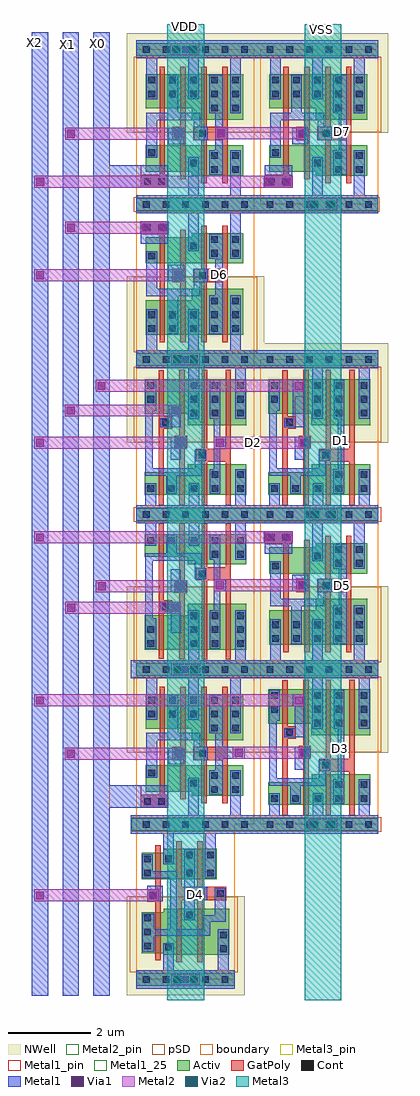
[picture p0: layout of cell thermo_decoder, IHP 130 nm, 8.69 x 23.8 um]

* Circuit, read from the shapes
.subckt thermo_decoder D1 D2 D3 D4 D5 D6 D7 VDD VSS X0 X1 X2
XM1 VSS X2 n1 VSS sg13_lv_nmos w=0.64u l=0.13u
XM2 n2 X1 VSS VSS sg13_lv_nmos w=0.55u l=0.13u
XM3 n3 X1 VSS VSS sg13_lv_nmos w=0.55u l=0.13u
XM4 n4 X0 n5 VSS sg13_lv_nmos w=0.64u l=0.13u
XM5 n6 X1 n7 VSS sg13_lv_nmos w=0.64u l=0.13u
XM6 n8 X0 n9 VSS sg13_lv_nmos w=0.64u l=0.13u
XM7 D4 n1 VSS VSS sg13_lv_nmos w=0.74u l=0.13u m=2
XM8 VSS X0 n2 VSS sg13_lv_nmos w=0.55u l=0.13u
XM9 VSS X2 n3 VSS sg13_lv_nmos w=0.55u l=0.13u
XM10 VSS X1 n4 VSS sg13_lv_nmos w=0.64u l=0.13u
XM11 VSS X2 n6 VSS sg13_lv_nmos w=0.64u l=0.13u
XM12 VSS X1 n8 VSS sg13_lv_nmos w=0.64u l=0.13u
XM13 sg13g2_or2_2$3_8/A n5 VSS VSS sg13_lv_nmos w=0.74u l=0.13u m=2
XM14 D6 n7 VSS VSS sg13_lv_nmos w=0.74u l=0.13u m=2
XM15 sg13g2_and2_2_1/B n9 VSS VSS sg13_lv_nmos w=0.74u l=0.13u m=2
XM16 sg13g2_and2_2$3_6/B n2 VSS VSS sg13_lv_nmos w=0.74u l=0.13u m=2
XM17 D2 n3 VSS VSS sg13_lv_nmos w=0.74u l=0.13u m=2
XM18 n10 X2 VSS VSS sg13_lv_nmos w=0.55u l=0.13u
XM19 n11 X0 VSS VSS sg13_lv_nmos w=0.55u l=0.13u
XM20 n12 X2 n13 VSS sg13_lv_nmos w=0.64u l=0.13u
XM21 n14 X2 n15 VSS sg13_lv_nmos w=0.64u l=0.13u
XM22 VSS sg13g2_or2_2$3_8/A n10 VSS sg13_lv_nmos w=0.55u l=0.13u
XM23 VSS D2 n11 VSS sg13_lv_nmos w=0.55u l=0.13u
XM24 VSS sg13g2_and2_2$3_6/B n12 VSS sg13_lv_nmos w=0.64u l=0.13u
XM25 VSS sg13g2_and2_2_1/B n14 VSS sg13_lv_nmos w=0.64u l=0.13u
XM26 D5 n13 VSS VSS sg13_lv_nmos w=0.74u l=0.13u m=2
XM27 D7 n15 VSS VSS sg13_lv_nmos w=0.74u l=0.13u m=2
XM28 D3 n10 VSS VSS sg13_lv_nmos w=0.74u l=0.13u m=2
XM29 D1 n11 VSS VSS sg13_lv_nmos w=0.74u l=0.13u m=2
XM30 VDD X2 n1 VDD sg13_lv_pmos w=1u l=0.13u
XM31 n16 X1 n2 VDD sg13_lv_pmos w=0.84u l=0.13u
XM32 n17 X1 n3 VDD sg13_lv_pmos w=0.84u l=0.13u
XM33 n5 X0 VDD VDD sg13_lv_pmos w=0.84u l=0.13u
XM34 n7 X1 VDD VDD sg13_lv_pmos w=0.84u l=0.13u
XM35 n9 X0 VDD VDD sg13_lv_pmos w=0.84u l=0.13u
XM36 D4 n1 VDD VDD sg13_lv_pmos w=1.12u l=0.13u m=2
XM37 VDD X0 n16 VDD sg13_lv_pmos w=0.84u l=0.13u
XM38 VDD X2 n17 VDD sg13_lv_pmos w=0.84u l=0.13u
XM39 VDD X1 n5 VDD sg13_lv_pmos w=0.84u l=0.13u
XM40 VDD X2 n7 VDD sg13_lv_pmos w=0.84u l=0.13u
XM41 VDD X1 n9 VDD sg13_lv_pmos w=0.84u l=0.13u
XM42 sg13g2_or2_2$3_8/A n5 VDD VDD sg13_lv_pmos w=1.12u l=0.13u m=2
XM43 D6 n7 VDD VDD sg13_lv_pmos w=1.12u l=0.13u m=2
XM44 sg13g2_and2_2_1/B n9 VDD VDD sg13_lv_pmos w=1.12u l=0.13u m=2
XM45 sg13g2_and2_2$3_6/B n2 VDD VDD sg13_lv_pmos w=1.12u l=0.13u m=2
XM46 D2 n3 VDD VDD sg13_lv_pmos w=1.12u l=0.13u m=2
XM47 n18 X2 n10 VDD sg13_lv_pmos w=0.84u l=0.13u
XM48 n19 X0 n11 VDD sg13_lv_pmos w=0.84u l=0.13u
XM49 n13 X2 VDD VDD sg13_lv_pmos w=0.84u l=0.13u
XM50 n15 X2 VDD VDD sg13_lv_pmos w=0.84u l=0.13u
XM51 VDD sg13g2_or2_2$3_8/A n18 VDD sg13_lv_pmos w=0.84u l=0.13u
XM52 VDD D2 n19 VDD sg13_lv_pmos w=0.84u l=0.13u
XM53 VDD sg13g2_and2_2$3_6/B n13 VDD sg13_lv_pmos w=0.84u l=0.13u
XM54 VDD sg13g2_and2_2_1/B n15 VDD sg13_lv_pmos w=0.84u l=0.13u
XM55 D5 n13 VDD VDD sg13_lv_pmos w=1.12u l=0.13u m=2
XM56 D7 n15 VDD VDD sg13_lv_pmos w=1.12u l=0.13u m=2
XM57 D3 n10 VDD VDD sg13_lv_pmos w=1.12u l=0.13u m=2
XM58 D1 n11 VDD VDD sg13_lv_pmos w=1.12u l=0.13u m=2
.ends

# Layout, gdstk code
from math import pi, radians
import gdstk
lib = gdstk.Library(unit=1e-6, precision=1e-09)
def R(c, l, rs):  # rectangles x0, y0, x1, y1
    for r in rs: c.add(gdstk.rectangle(r[:2], r[2:], *l))
def A(c, l, x, y, w, h, nx, ny, dx, dy):  # array of equal rectangles
    R(c, l, [(x+i*dx, y+j*dy, x+i*dx+w, y+j*dy+h) for i in range(nx) for j in range(ny)])
def P(c, l, *ps):  # polygons
    for p in ps: c.add(gdstk.Polygon(p, *l))
Activ = (1, 0)
GatPoly = (5, 0)
Cont = (6, 0)
Metal1 = (8, 0)
Metal1_pin = (8, 2)
Metal1_25 = (8, 25)
Metal2 = (10, 0)
Metal2_pin = (10, 2)
pSD = (14, 0)
Via1 = (19, 0)
Via2 = (29, 0)
Metal3 = (30, 0)
Metal3_pin = (30, 2)
NWell = (31, 0)
boundary = (189, 4)

sg13g2_and2_2_1 = lib.new_cell('sg13g2_and2_2$1')
R(sg13g2_and2_2_1, Activ, [(0,-0.15,2.88,0.15), (0,3.63,2.88,3.93)])
P(sg13g2_and2_2_1, Activ, [(1.355,0.7),(1.355,0.8),(0.225,0.8),(0.225,1.44),(2.605,1.44),(2.605,0.7)],
  [(1.355,2.06),(1.355,2.34),(0.225,2.34),(0.225,3.18),(2.605,3.18),(2.605,2.06)])
P(sg13g2_and2_2_1, GatPoly, [(1.585,0.52),(1.585,1.57),(1.385,1.57),(1.385,1.9),(1.585,1.9),(1.585,3.36),(1.715,3.36),(1.715,1.9),(2.095,1.9),(2.095,3.36),(2.225,3.36),(2.225,0.52),(2.095,0.52),(2.095,1.57),(1.715,1.57),(1.715,0.52)],
  [(0.105,0.41),(0.105,0.73),(0.565,0.73),(0.565,3.36),(0.695,3.36),(0.695,0.73),(0.775,0.73),(0.775,0.41)],
  [(1.075,0.62),(1.075,1.57),(0.875,1.57),(0.875,1.9),(1.075,1.9),(1.075,3.36),(1.205,3.36),(1.205,0.62)])
A(sg13g2_and2_2_1, Cont, 0.16, -0.08, 0.16, 0.16, 6, 1, 0.48, 0)
A(sg13g2_and2_2_1, Cont, 0.295, 2.61, 0.16, 0.16, 5, 2, 0.51, 0.34)
A(sg13g2_and2_2_1, Cont, 1.6, 3.7, 0.16, 0.16, 3, 1, 0.48, 0)
R(sg13g2_and2_2_1, Cont, [(0.19,0.48,0.35,0.64), (0.53,0.48,0.69,0.64), (1.825,0.77,1.985,0.93), (2.335,0.77,2.495,0.93), (1.315,0.935,1.475,1.095), (1.825,1.11,1.985,1.27), (2.335,1.11,2.495,1.27), (0.295,1.18,0.455,1.34), (0.96,1.655,1.12,1.815), (1.53,1.655,1.69,1.815), (1.825,2.27,1.985,2.43), (2.335,2.27,2.495,2.43), (0.16,3.7,0.32,3.86), (0.16,3.7,0.32,3.86), (0.16,3.7,0.32,3.86), (0.64,3.7,0.8,3.86), (0.64,3.7,0.8,3.86), (1.12,3.7,1.28,3.86), (1.12,3.7,1.28,3.86), (1.6,3.7,1.76,3.86)])
R(sg13g2_and2_2_1, Metal1, [(0.105,0.405,0.78,0.96), (0.78,1.47,1.17,1.87)])
P(sg13g2_and2_2_1, Metal1, [(1.775,0.72),(1.775,1.32),(1.92,1.32),(1.92,2.22),(1.775,2.22),(1.775,3.16),(2.105,3.16),(2.105,0.72)],
  [(0,-0.22),(0,0.22),(1.265,0.22),(1.265,1.145),(1.525,1.145),(1.525,0.22),(2.285,0.22),(2.285,1.32),(2.545,1.32),(2.545,0.22),(2.88,0.22),(2.88,-0.22)],
  [(0.245,1.14),(0.245,2.24),(0.755,2.24),(0.755,3.16),(1.015,3.16),(1.015,2.24),(1.56,2.24),(1.56,1.9),(1.74,1.9),(1.74,1.57),(1.4,1.57),(1.4,2.05),(0.505,2.05),(0.505,1.14)],
  [(2.285,2.22),(2.285,3.56),(1.525,3.56),(1.525,2.56),(1.265,2.56),(1.265,3.56),(0.505,3.56),(0.505,2.56),(0.245,2.56),(0.245,3.56),(0,3.56),(0,4),(2.88,4),(2.88,3.56),(2.545,3.56),(2.545,2.22)])
R(sg13g2_and2_2_1, Metal1_pin, [(0,-0.22,2.88,0.22), (0.105,0.405,0.78,0.96), (0.78,1.47,1.17,1.87), (1.775,2.22,2.105,3.16), (0,3.56,2.88,4)])
R(sg13g2_and2_2_1, pSD, [(-0.07,-0.18,2.91,0.18), (-0.07,1.76,2.95,3.6)])
R(sg13g2_and2_2_1, NWell, [(-0.24,1.75,0.72,4.17), (-0.24,1.75,2.64,4.17), (2.16,1.75,3.12,4.17)])
R(sg13g2_and2_2_1, boundary, [(0,0,2.88,3.78)])
sg13g2_and2_2_1.add(gdstk.Label('X', (1.995,2.73), layer=8, texttype=25))
sg13g2_and2_2_1.add(gdstk.Label('VSS', (1.18,0), layer=8, texttype=25))
sg13g2_and2_2_1.add(gdstk.Label('VDD', (1.275,3.78), layer=8, texttype=25))

sg13g2_and2_2 = lib.new_cell('sg13g2_and2_2')
R(sg13g2_and2_2, Activ, [(-0.14,-0.15,2.88,0.15), (-0.14,3.63,2.88,3.93)])
P(sg13g2_and2_2, Activ, [(1.355,0.7),(1.355,0.8),(0.225,0.8),(0.225,1.44),(2.605,1.44),(2.605,0.7)],
  [(1.355,2.06),(1.355,2.34),(0.225,2.34),(0.225,3.18),(2.605,3.18),(2.605,2.06)])
P(sg13g2_and2_2, GatPoly, [(1.585,0.52),(1.585,1.57),(1.385,1.57),(1.385,1.9),(1.585,1.9),(1.585,3.36),(1.715,3.36),(1.715,1.9),(2.095,1.9),(2.095,3.36),(2.225,3.36),(2.225,0.52),(2.095,0.52),(2.095,1.57),(1.715,1.57),(1.715,0.52)],
  [(0.105,0.41),(0.105,0.73),(0.565,0.73),(0.565,3.36),(0.695,3.36),(0.695,0.73),(0.775,0.73),(0.775,0.41)],
  [(1.075,0.62),(1.075,1.57),(0.875,1.57),(0.875,1.9),(1.075,1.9),(1.075,3.36),(1.205,3.36),(1.205,0.62)])
A(sg13g2_and2_2, Cont, 0.16, -0.08, 0.16, 0.16, 6, 1, 0.48, 0)
A(sg13g2_and2_2, Cont, 0.295, 2.61, 0.16, 0.16, 5, 2, 0.51, 0.34)
A(sg13g2_and2_2, Cont, 1.6, 3.7, 0.16, 0.16, 3, 1, 0.48, 0)
R(sg13g2_and2_2, Cont, [(0.19,0.48,0.35,0.64), (0.53,0.48,0.69,0.64), (1.825,0.77,1.985,0.93), (2.335,0.77,2.495,0.93), (1.315,0.935,1.475,1.095), (1.825,1.11,1.985,1.27), (2.335,1.11,2.495,1.27), (0.295,1.18,0.455,1.34), (0.96,1.655,1.12,1.815), (1.53,1.655,1.69,1.815), (1.825,2.27,1.985,2.43), (2.335,2.27,2.495,2.43), (0.16,3.7,0.32,3.86), (0.16,3.7,0.32,3.86), (0.16,3.7,0.32,3.86), (0.64,3.7,0.8,3.86), (0.64,3.7,0.8,3.86), (1.12,3.7,1.28,3.86), (1.12,3.7,1.28,3.86), (1.6,3.7,1.76,3.86)])
R(sg13g2_and2_2, Metal1, [(0.105,0.405,0.78,0.96), (0.78,1.47,1.17,1.87)])
P(sg13g2_and2_2, Metal1, [(-0.14,-0.22),(-0.14,0.22),(1.265,0.22),(1.265,1.145),(1.525,1.145),(1.525,0.22),(2.285,0.22),(2.285,1.32),(2.545,1.32),(2.545,0.22),(2.88,0.22),(2.88,-0.22)],
  [(2.285,2.22),(2.285,3.56),(1.525,3.56),(1.525,2.56),(1.265,2.56),(1.265,3.56),(0.505,3.56),(0.505,2.56),(0.245,2.56),(0.245,3.56),(-0.14,3.56),(-0.14,4),(2.88,4),(2.88,3.56),(2.545,3.56),(2.545,2.22)],
  [(1.775,0.72),(1.775,1.32),(1.92,1.32),(1.92,2.22),(1.775,2.22),(1.775,3.16),(2.105,3.16),(2.105,0.72)],
  [(0.245,1.14),(0.245,2.24),(0.755,2.24),(0.755,3.16),(1.015,3.16),(1.015,2.24),(1.56,2.24),(1.56,1.9),(1.74,1.9),(1.74,1.57),(1.4,1.57),(1.4,2.05),(0.505,2.05),(0.505,1.14)])
R(sg13g2_and2_2, Metal1_pin, [(-0.14,-0.22,2.88,0.22), (0.105,0.405,0.78,0.96), (0.78,1.47,1.17,1.87), (1.775,2.22,2.105,3.16), (-0.14,3.56,2.88,4)])
R(sg13g2_and2_2, pSD, [(-0.11,-0.18,2.91,0.18), (-0.07,1.76,2.95,3.6)])
R(sg13g2_and2_2, NWell, [(-0.24,1.75,0.72,4.17), (-0.24,1.75,2.64,4.17), (2.16,1.75,3.12,4.17)])
R(sg13g2_and2_2, boundary, [(0,0,2.88,3.78)])
sg13g2_and2_2.add(gdstk.Label('X', (1.995,2.73), layer=8, texttype=25))
sg13g2_and2_2.add(gdstk.Label('VSS', (1.18,0), layer=8, texttype=25))
sg13g2_and2_2.add(gdstk.Label('VDD', (1.275,3.78), layer=8, texttype=25))
sg13g2_and2_2.add(gdstk.Label('B', (0.98,1.655), layer=8, texttype=25))

sg13g2_and2_2_2 = lib.new_cell('sg13g2_and2_2$2')
R(sg13g2_and2_2_2, Activ, [(0,-0.15,2.88,0.15), (0,3.63,2.88,3.93)])
P(sg13g2_and2_2_2, Activ, [(1.355,0.7),(1.355,0.8),(0.225,0.8),(0.225,1.44),(2.605,1.44),(2.605,0.7)],
  [(1.355,2.06),(1.355,2.34),(0.225,2.34),(0.225,3.18),(2.605,3.18),(2.605,2.06)])
P(sg13g2_and2_2_2, GatPoly, [(1.585,0.52),(1.585,1.57),(1.385,1.57),(1.385,1.9),(1.585,1.9),(1.585,3.36),(1.715,3.36),(1.715,1.9),(2.095,1.9),(2.095,3.36),(2.225,3.36),(2.225,0.52),(2.095,0.52),(2.095,1.57),(1.715,1.57),(1.715,0.52)],
  [(0.105,0.41),(0.105,0.73),(0.565,0.73),(0.565,3.36),(0.695,3.36),(0.695,0.73),(0.775,0.73),(0.775,0.41)],
  [(1.075,0.62),(1.075,1.57),(0.875,1.57),(0.875,1.9),(1.075,1.9),(1.075,3.36),(1.205,3.36),(1.205,0.62)])
A(sg13g2_and2_2_2, Cont, 0.16, -0.08, 0.16, 0.16, 6, 1, 0.48, 0)
A(sg13g2_and2_2_2, Cont, 0.295, 2.61, 0.16, 0.16, 5, 2, 0.51, 0.34)
A(sg13g2_and2_2_2, Cont, 1.6, 3.7, 0.16, 0.16, 3, 1, 0.48, 0)
R(sg13g2_and2_2_2, Cont, [(0.19,0.48,0.35,0.64), (0.53,0.48,0.69,0.64), (1.825,0.77,1.985,0.93), (2.335,0.77,2.495,0.93), (1.315,0.935,1.475,1.095), (1.825,1.11,1.985,1.27), (2.335,1.11,2.495,1.27), (0.295,1.18,0.455,1.34), (0.96,1.655,1.12,1.815), (1.53,1.655,1.69,1.815), (1.825,2.27,1.985,2.43), (2.335,2.27,2.495,2.43), (0.16,3.7,0.32,3.86), (0.16,3.7,0.32,3.86), (0.16,3.7,0.32,3.86), (0.64,3.7,0.8,3.86), (0.64,3.7,0.8,3.86), (1.12,3.7,1.28,3.86), (1.12,3.7,1.28,3.86), (1.6,3.7,1.76,3.86)])
R(sg13g2_and2_2_2, Metal1, [(0.105,0.405,0.78,0.96), (0.78,1.47,1.17,1.87)])
P(sg13g2_and2_2_2, Metal1, [(1.775,0.72),(1.775,1.32),(1.92,1.32),(1.92,2.22),(1.775,2.22),(1.775,3.16),(2.105,3.16),(2.105,0.72)],
  [(0,-0.22),(0,0.22),(1.265,0.22),(1.265,1.145),(1.525,1.145),(1.525,0.22),(2.285,0.22),(2.285,1.32),(2.545,1.32),(2.545,0.22),(2.88,0.22),(2.88,-0.22)],
  [(0.245,1.14),(0.245,2.24),(0.755,2.24),(0.755,3.16),(1.015,3.16),(1.015,2.24),(1.56,2.24),(1.56,1.9),(1.74,1.9),(1.74,1.57),(1.4,1.57),(1.4,2.05),(0.505,2.05),(0.505,1.14)],
  [(2.285,2.22),(2.285,3.56),(1.525,3.56),(1.525,2.56),(1.265,2.56),(1.265,3.56),(0.505,3.56),(0.505,2.56),(0.245,2.56),(0.245,3.56),(0,3.56),(0,4),(2.88,4),(2.88,3.56),(2.545,3.56),(2.545,2.22)])
R(sg13g2_and2_2_2, Metal1_pin, [(0,-0.22,2.88,0.22), (0.105,0.405,0.78,0.96), (0.78,1.47,1.17,1.87), (1.775,2.22,2.105,3.16), (0,3.56,2.88,4)])
R(sg13g2_and2_2_2, pSD, [(-0.07,-0.18,2.91,0.18), (-0.07,1.76,2.95,3.6)])
R(sg13g2_and2_2_2, NWell, [(-0.24,1.75,0.72,4.17), (-0.24,1.75,2.64,4.17), (2.16,1.75,3.12,4.17)])
R(sg13g2_and2_2_2, boundary, [(0,0,2.88,3.78)])
sg13g2_and2_2_2.add(gdstk.Label('X', (1.995,2.73), layer=8, texttype=25))
sg13g2_and2_2_2.add(gdstk.Label('VSS', (1.18,0), layer=8, texttype=25))
sg13g2_and2_2_2.add(gdstk.Label('VDD', (1.275,3.78), layer=8, texttype=25))

sg13g2_or2_2 = lib.new_cell('sg13g2_or2_2')
R(sg13g2_or2_2, Activ, [(0,-0.15,2.88,0.15), (0,3.63,2.88,3.93)])
P(sg13g2_or2_2, Activ, [(1.25,2.18),(1.25,2.46),(0.2,2.46),(0.2,3.3),(2.685,3.3),(2.685,2.18)],
  [(0.2,0.48),(0.2,1.03),(1.255,1.03),(1.255,1.22),(2.685,1.22),(2.685,0.48)])
P(sg13g2_or2_2, GatPoly, [(1.05,0.22),(1.05,1.615),(0.935,1.615),(0.935,1.915),(1.05,1.915),(1.05,3.525),(1.18,3.525),(1.18,1.915),(1.235,1.915),(1.235,1.615),(1.18,1.615),(1.18,0.22)],
  [(0.54,0.22),(0.54,3.52),(0.67,3.52),(0.67,2.39),(0.87,2.39),(0.87,2.09),(0.67,2.09),(0.67,0.22)],
  [(1.595,0.22),(1.595,1.3),(1.445,1.3),(1.445,1.6),(1.595,1.6),(1.595,3.53),(1.725,3.53),(1.725,1.6),(2.175,1.6),(2.175,3.53),(2.305,3.53),(2.305,0.22),(2.175,0.22),(2.175,1.29),(1.725,1.29),(1.725,0.22)])
A(sg13g2_or2_2, Cont, 0.16, -0.08, 0.16, 0.16, 6, 2, 0.48, 3.78)
A(sg13g2_or2_2, Cont, 1.32, 2.39, 0.16, 0.16, 1, 3, 0, 0.34)
A(sg13g2_or2_2, Cont, 1.84, 2.39, 0.16, 0.16, 1, 3, 0, 0.34)
A(sg13g2_or2_2, Cont, 2.455, 2.39, 0.16, 0.16, 1, 3, 0, 0.34)
R(sg13g2_or2_2, Cont, [(0.27,0.55,0.43,0.71), (0.78,0.55,0.94,0.71), (1.325,0.55,1.485,0.71), (1.835,0.55,1.995,0.71), (2.455,0.55,2.615,0.71), (1.835,0.89,1.995,1.05), (2.455,0.89,2.615,1.05), (1.515,1.37,1.675,1.53), (1.005,1.685,1.165,1.845), (0.635,2.16,0.795,2.32), (0.27,2.73,0.43,2.89), (0.27,3.07,0.43,3.23)])
P(sg13g2_or2_2, Metal1, [(0.585,2.13),(0.585,2.35),(0.84,2.35),(0.84,2.68),(1.085,2.68),(1.085,2.13)],
  [(1.785,0.5),(1.785,1.1),(1.885,1.1),(1.885,2.34),(1.79,2.34),(1.79,3.28),(2.05,3.28),(2.05,0.5)],
  [(0,-0.22),(0,0.22),(0.22,0.22),(0.22,0.76),(0.48,0.76),(0.48,0.22),(1.275,0.22),(1.275,0.76),(1.535,0.76),(1.535,0.22),(2.405,0.22),(2.405,1.1),(2.665,1.1),(2.665,0.22),(2.88,0.22),(2.88,-0.22)],
  [(0.84,1.335),(0.84,1.895),(1.215,1.895),(1.215,1.635),(1.085,1.635),(1.085,1.335)],
  [(0.73,0.5),(0.73,0.945),(0.22,0.945),(0.22,3.28),(0.48,3.28),(0.48,2.53),(0.405,2.53),(0.405,1.125),(1.425,1.125),(1.425,1.58),(1.705,1.58),(1.705,1.315),(1.595,1.315),(1.595,0.945),(0.99,0.945),(0.99,0.5)],
  [(1.27,2.34),(1.27,3.56),(0,3.56),(0,4),(2.88,4),(2.88,3.56),(2.665,3.56),(2.665,2.34),(2.405,2.34),(2.405,3.56),(1.53,3.56),(1.53,2.34)])
R(sg13g2_or2_2, Metal1_pin, [(0,-0.22,2.88,0.22), (0.84,1.335,1.085,1.895), (0.84,2.13,1.085,2.68), (1.79,2.34,2.05,3.28), (0,3.56,2.88,4)])
R(sg13g2_or2_2, pSD, [(-0.07,-0.18,2.95,0.18), (-0.07,1.76,2.95,3.6)])
R(sg13g2_or2_2, NWell, [(-0.24,1.75,3.12,4.17)])
R(sg13g2_or2_2, boundary, [(0,0,2.88,3.78)])
sg13g2_or2_2.add(gdstk.Label('VSS', (1.43,-0.005), layer=8, texttype=25))
sg13g2_or2_2.add(gdstk.Label('X', (1.92,2.52), layer=8, texttype=25))
sg13g2_or2_2.add(gdstk.Label('VDD', (1.435,3.78), layer=8, texttype=25))

sg13g2_or2_2_1 = lib.new_cell('sg13g2_or2_2$1')
R(sg13g2_or2_2_1, Activ, [(-0.14,-0.15,2.88,0.15), (-0.14,3.63,2.88,3.93)])
P(sg13g2_or2_2_1, Activ, [(1.25,2.18),(1.25,2.46),(0.2,2.46),(0.2,3.3),(2.685,3.3),(2.685,2.18)],
  [(0.2,0.48),(0.2,1.03),(1.255,1.03),(1.255,1.22),(2.685,1.22),(2.685,0.48)])
P(sg13g2_or2_2_1, GatPoly, [(1.05,0.22),(1.05,1.615),(0.935,1.615),(0.935,1.915),(1.05,1.915),(1.05,3.525),(1.18,3.525),(1.18,1.915),(1.235,1.915),(1.235,1.615),(1.18,1.615),(1.18,0.22)],
  [(0.54,0.22),(0.54,3.52),(0.67,3.52),(0.67,2.39),(0.87,2.39),(0.87,2.09),(0.67,2.09),(0.67,0.22)],
  [(1.595,0.22),(1.595,1.3),(1.445,1.3),(1.445,1.6),(1.595,1.6),(1.595,3.53),(1.725,3.53),(1.725,1.6),(2.175,1.6),(2.175,3.53),(2.305,3.53),(2.305,0.22),(2.175,0.22),(2.175,1.29),(1.725,1.29),(1.725,0.22)])
A(sg13g2_or2_2_1, Cont, 0.16, -0.08, 0.16, 0.16, 6, 2, 0.48, 3.78)
A(sg13g2_or2_2_1, Cont, 1.32, 2.39, 0.16, 0.16, 1, 3, 0, 0.34)
A(sg13g2_or2_2_1, Cont, 1.84, 2.39, 0.16, 0.16, 1, 3, 0, 0.34)
A(sg13g2_or2_2_1, Cont, 2.455, 2.39, 0.16, 0.16, 1, 3, 0, 0.34)
R(sg13g2_or2_2_1, Cont, [(0.27,0.55,0.43,0.71), (0.78,0.55,0.94,0.71), (1.325,0.55,1.485,0.71), (1.835,0.55,1.995,0.71), (2.455,0.55,2.615,0.71), (1.835,0.89,1.995,1.05), (2.455,0.89,2.615,1.05), (1.515,1.37,1.675,1.53), (1.005,1.685,1.165,1.845), (0.635,2.16,0.795,2.32), (0.27,2.73,0.43,2.89), (0.27,3.07,0.43,3.23)])
P(sg13g2_or2_2_1, Metal1, [(1.27,2.34),(1.27,3.56),(-0.14,3.56),(-0.14,4),(2.88,4),(2.88,3.56),(2.665,3.56),(2.665,2.34),(2.405,2.34),(2.405,3.56),(1.53,3.56),(1.53,2.34)],
  [(-0.14,-0.22),(-0.14,0.22),(0.22,0.22),(0.22,0.76),(0.48,0.76),(0.48,0.22),(1.275,0.22),(1.275,0.76),(1.535,0.76),(1.535,0.22),(2.405,0.22),(2.405,1.1),(2.665,1.1),(2.665,0.22),(2.88,0.22),(2.88,-0.22)],
  [(1.785,0.5),(1.785,1.1),(1.885,1.1),(1.885,2.34),(1.79,2.34),(1.79,3.28),(2.05,3.28),(2.05,0.5)],
  [(0.84,1.335),(0.84,1.895),(1.215,1.895),(1.215,1.635),(1.085,1.635),(1.085,1.335)],
  [(0.73,0.5),(0.73,0.945),(0.22,0.945),(0.22,3.28),(0.48,3.28),(0.48,2.53),(0.405,2.53),(0.405,1.125),(1.425,1.125),(1.425,1.58),(1.705,1.58),(1.705,1.315),(1.595,1.315),(1.595,0.945),(0.99,0.945),(0.99,0.5)],
  [(0.585,2.13),(0.585,2.35),(0.84,2.35),(0.84,2.88),(1.085,2.88),(1.085,2.13)])
R(sg13g2_or2_2_1, Metal1_pin, [(-0.14,-0.22,2.88,0.22), (0.84,1.335,1.085,1.895), (0.84,2.13,1.085,2.88), (1.79,2.34,2.05,3.28), (-0.14,3.56,2.88,4)])
R(sg13g2_or2_2_1, pSD, [(-0.07,-0.18,2.95,0.18), (-0.07,1.76,2.95,3.6)])
R(sg13g2_or2_2_1, NWell, [(-0.24,1.75,3.12,4.17)])
R(sg13g2_or2_2_1, boundary, [(0,0,2.88,3.78)])
sg13g2_or2_2_1.add(gdstk.Label('VSS', (1.43,-0.005), layer=8, texttype=25))
sg13g2_or2_2_1.add(gdstk.Label('A', (0.96,1.68), layer=8, texttype=25))
sg13g2_or2_2_1.add(gdstk.Label('X', (1.92,2.52), layer=8, texttype=25))
sg13g2_or2_2_1.add(gdstk.Label('VDD', (1.435,3.78), layer=8, texttype=25))

sg13g2_or2_2_2 = lib.new_cell('sg13g2_or2_2$2')
R(sg13g2_or2_2_2, Activ, [(0,-0.15,2.88,0.15), (0,3.63,2.88,3.93)])
P(sg13g2_or2_2_2, Activ, [(1.25,2.18),(1.25,2.46),(0.2,2.46),(0.2,3.3),(2.685,3.3),(2.685,2.18)],
  [(0.2,0.48),(0.2,1.03),(1.255,1.03),(1.255,1.22),(2.685,1.22),(2.685,0.48)])
P(sg13g2_or2_2_2, GatPoly, [(1.05,0.22),(1.05,1.615),(0.935,1.615),(0.935,1.915),(1.05,1.915),(1.05,3.525),(1.18,3.525),(1.18,1.915),(1.235,1.915),(1.235,1.615),(1.18,1.615),(1.18,0.22)],
  [(0.54,0.22),(0.54,3.52),(0.67,3.52),(0.67,2.39),(0.87,2.39),(0.87,2.09),(0.67,2.09),(0.67,0.22)],
  [(1.595,0.22),(1.595,1.3),(1.445,1.3),(1.445,1.6),(1.595,1.6),(1.595,3.53),(1.725,3.53),(1.725,1.6),(2.175,1.6),(2.175,3.53),(2.305,3.53),(2.305,0.22),(2.175,0.22),(2.175,1.29),(1.725,1.29),(1.725,0.22)])
A(sg13g2_or2_2_2, Cont, 0.16, -0.08, 0.16, 0.16, 6, 2, 0.48, 3.78)
A(sg13g2_or2_2_2, Cont, 1.32, 2.39, 0.16, 0.16, 1, 3, 0, 0.34)
A(sg13g2_or2_2_2, Cont, 1.84, 2.39, 0.16, 0.16, 1, 3, 0, 0.34)
A(sg13g2_or2_2_2, Cont, 2.455, 2.39, 0.16, 0.16, 1, 3, 0, 0.34)
R(sg13g2_or2_2_2, Cont, [(0.27,0.55,0.43,0.71), (0.78,0.55,0.94,0.71), (1.325,0.55,1.485,0.71), (1.835,0.55,1.995,0.71), (2.455,0.55,2.615,0.71), (1.835,0.89,1.995,1.05), (2.455,0.89,2.615,1.05), (1.515,1.37,1.675,1.53), (1.005,1.685,1.165,1.845), (0.635,2.16,0.795,2.32), (0.27,2.73,0.43,2.89), (0.27,3.07,0.43,3.23)])
P(sg13g2_or2_2_2, Metal1, [(1.785,0.5),(1.785,1.1),(1.885,1.1),(1.885,2.34),(1.79,2.34),(1.79,3.28),(2.05,3.28),(2.05,0.5)],
  [(0,-0.22),(0,0.22),(0.22,0.22),(0.22,0.76),(0.48,0.76),(0.48,0.22),(1.275,0.22),(1.275,0.76),(1.535,0.76),(1.535,0.22),(2.405,0.22),(2.405,1.1),(2.665,1.1),(2.665,0.22),(2.88,0.22),(2.88,-0.22)],
  [(0.84,1.335),(0.84,1.895),(1.215,1.895),(1.215,1.635),(1.085,1.635),(1.085,1.335)],
  [(0.73,0.5),(0.73,0.945),(0.22,0.945),(0.22,3.28),(0.48,3.28),(0.48,2.53),(0.405,2.53),(0.405,1.125),(1.425,1.125),(1.425,1.58),(1.705,1.58),(1.705,1.315),(1.595,1.315),(1.595,0.945),(0.99,0.945),(0.99,0.5)],
  [(0.585,2.13),(0.585,2.35),(0.84,2.35),(0.84,2.88),(1.085,2.88),(1.085,2.13)],
  [(1.27,2.34),(1.27,3.56),(0,3.56),(0,4),(2.88,4),(2.88,3.56),(2.665,3.56),(2.665,2.34),(2.405,2.34),(2.405,3.56),(1.53,3.56),(1.53,2.34)])
R(sg13g2_or2_2_2, Metal1_pin, [(0,-0.22,2.88,0.22), (0.84,1.335,1.085,1.895), (0.84,2.13,1.085,2.88), (1.79,2.34,2.05,3.28), (0,3.56,2.88,4)])
R(sg13g2_or2_2_2, pSD, [(-0.07,-0.18,2.95,0.18), (-0.07,1.76,2.95,3.6)])
R(sg13g2_or2_2_2, NWell, [(-0.24,1.75,3.12,4.17)])
R(sg13g2_or2_2_2, boundary, [(0,0,2.88,3.78)])
sg13g2_or2_2_2.add(gdstk.Label('VSS', (1.43,-0.005), layer=8, texttype=25))
sg13g2_or2_2_2.add(gdstk.Label('X', (1.92,2.52), layer=8, texttype=25))
sg13g2_or2_2_2.add(gdstk.Label('VDD', (1.435,3.78), layer=8, texttype=25))

sg13g2_and2_2_3 = lib.new_cell('sg13g2_and2_2$3')
R(sg13g2_and2_2_3, Activ, [(-0.14,-0.15,2.88,0.15), (-0.14,3.63,2.88,3.93)])
P(sg13g2_and2_2_3, Activ, [(1.355,0.7),(1.355,0.8),(0.225,0.8),(0.225,1.44),(2.605,1.44),(2.605,0.7)],
  [(1.355,2.06),(1.355,2.34),(0.225,2.34),(0.225,3.18),(2.605,3.18),(2.605,2.06)])
P(sg13g2_and2_2_3, GatPoly, [(1.585,0.52),(1.585,1.57),(1.385,1.57),(1.385,1.9),(1.585,1.9),(1.585,3.36),(1.715,3.36),(1.715,1.9),(2.095,1.9),(2.095,3.36),(2.225,3.36),(2.225,0.52),(2.095,0.52),(2.095,1.57),(1.715,1.57),(1.715,0.52)],
  [(0.105,0.41),(0.105,0.73),(0.565,0.73),(0.565,3.36),(0.695,3.36),(0.695,0.73),(0.775,0.73),(0.775,0.41)],
  [(1.075,0.62),(1.075,1.57),(0.875,1.57),(0.875,1.9),(1.075,1.9),(1.075,3.36),(1.205,3.36),(1.205,0.62)])
A(sg13g2_and2_2_3, Cont, 0.16, -0.08, 0.16, 0.16, 6, 1, 0.48, 0)
A(sg13g2_and2_2_3, Cont, 0.295, 2.61, 0.16, 0.16, 5, 2, 0.51, 0.34)
A(sg13g2_and2_2_3, Cont, 1.6, 3.7, 0.16, 0.16, 3, 1, 0.48, 0)
R(sg13g2_and2_2_3, Cont, [(0.19,0.48,0.35,0.64), (0.53,0.48,0.69,0.64), (1.825,0.77,1.985,0.93), (2.335,0.77,2.495,0.93), (1.315,0.935,1.475,1.095), (1.825,1.11,1.985,1.27), (2.335,1.11,2.495,1.27), (0.295,1.18,0.455,1.34), (0.96,1.655,1.12,1.815), (1.53,1.655,1.69,1.815), (1.825,2.27,1.985,2.43), (2.335,2.27,2.495,2.43), (0.16,3.7,0.32,3.86), (0.16,3.7,0.32,3.86), (0.16,3.7,0.32,3.86), (0.64,3.7,0.8,3.86), (0.64,3.7,0.8,3.86), (1.12,3.7,1.28,3.86), (1.12,3.7,1.28,3.86), (1.6,3.7,1.76,3.86)])
R(sg13g2_and2_2_3, Metal1, [(0.105,0.405,0.78,0.96), (0.78,1.47,1.17,1.87)])
P(sg13g2_and2_2_3, Metal1, [(-0.14,-0.22),(-0.14,0.22),(1.265,0.22),(1.265,1.145),(1.525,1.145),(1.525,0.22),(2.285,0.22),(2.285,1.32),(2.545,1.32),(2.545,0.22),(2.88,0.22),(2.88,-0.22)],
  [(2.285,2.22),(2.285,3.56),(1.525,3.56),(1.525,2.56),(1.265,2.56),(1.265,3.56),(0.505,3.56),(0.505,2.56),(0.245,2.56),(0.245,3.56),(-0.14,3.56),(-0.14,4),(2.88,4),(2.88,3.56),(2.545,3.56),(2.545,2.22)],
  [(1.775,0.72),(1.775,1.32),(1.92,1.32),(1.92,2.22),(1.775,2.22),(1.775,3.16),(2.105,3.16),(2.105,0.72)],
  [(0.245,1.14),(0.245,2.24),(0.755,2.24),(0.755,3.16),(1.015,3.16),(1.015,2.24),(1.56,2.24),(1.56,1.9),(1.74,1.9),(1.74,1.57),(1.4,1.57),(1.4,2.05),(0.505,2.05),(0.505,1.14)])
R(sg13g2_and2_2_3, Metal1_pin, [(-0.14,-0.22,2.88,0.22), (0.105,0.405,0.78,0.96), (0.78,1.47,1.17,1.87), (1.775,2.22,2.105,3.16), (-0.14,3.56,2.88,4)])
R(sg13g2_and2_2_3, pSD, [(-0.11,-0.18,2.91,0.18), (-0.07,1.76,2.95,3.6)])
R(sg13g2_and2_2_3, NWell, [(-0.24,1.75,0.72,4.17), (-0.24,1.75,2.64,4.17), (2.16,1.75,3.12,4.17)])
R(sg13g2_and2_2_3, boundary, [(0,0,2.88,3.78)])
sg13g2_and2_2_3.add(gdstk.Label('X', (1.995,2.73), layer=8, texttype=25))
sg13g2_and2_2_3.add(gdstk.Label('VSS', (1.18,0), layer=8, texttype=25))
sg13g2_and2_2_3.add(gdstk.Label('VDD', (1.275,3.78), layer=8, texttype=25))
sg13g2_and2_2_3.add(gdstk.Label('B', (0.98,1.655), layer=8, texttype=25))

sg13g2_and2_2_4 = lib.new_cell('sg13g2_and2_2$4')
R(sg13g2_and2_2_4, Activ, [(-0.14,-0.15,2.88,0.15), (0,3.63,2.88,3.93)])
P(sg13g2_and2_2_4, Activ, [(1.355,0.7),(1.355,0.8),(0.225,0.8),(0.225,1.44),(2.605,1.44),(2.605,0.7)],
  [(1.355,2.06),(1.355,2.34),(0.225,2.34),(0.225,3.18),(2.605,3.18),(2.605,2.06)])
P(sg13g2_and2_2_4, GatPoly, [(1.585,0.52),(1.585,1.57),(1.385,1.57),(1.385,1.9),(1.585,1.9),(1.585,3.36),(1.715,3.36),(1.715,1.9),(2.095,1.9),(2.095,3.36),(2.225,3.36),(2.225,0.52),(2.095,0.52),(2.095,1.57),(1.715,1.57),(1.715,0.52)],
  [(0.105,0.41),(0.105,0.73),(0.565,0.73),(0.565,3.36),(0.695,3.36),(0.695,0.73),(0.775,0.73),(0.775,0.41)],
  [(1.075,0.62),(1.075,1.57),(0.875,1.57),(0.875,1.9),(1.075,1.9),(1.075,3.36),(1.205,3.36),(1.205,0.62)])
A(sg13g2_and2_2_4, Cont, 0.16, -0.08, 0.16, 0.16, 6, 1, 0.48, 0)
A(sg13g2_and2_2_4, Cont, 0.295, 2.61, 0.16, 0.16, 5, 2, 0.51, 0.34)
A(sg13g2_and2_2_4, Cont, 1.6, 3.7, 0.16, 0.16, 3, 1, 0.48, 0)
R(sg13g2_and2_2_4, Cont, [(0.19,0.48,0.35,0.64), (0.53,0.48,0.69,0.64), (1.825,0.77,1.985,0.93), (2.335,0.77,2.495,0.93), (1.315,0.935,1.475,1.095), (1.825,1.11,1.985,1.27), (2.335,1.11,2.495,1.27), (0.295,1.18,0.455,1.34), (0.96,1.655,1.12,1.815), (1.53,1.655,1.69,1.815), (1.825,2.27,1.985,2.43), (2.335,2.27,2.495,2.43), (0.16,3.7,0.32,3.86), (0.16,3.7,0.32,3.86), (0.16,3.7,0.32,3.86), (0.64,3.7,0.8,3.86), (0.64,3.7,0.8,3.86), (1.12,3.7,1.28,3.86), (1.12,3.7,1.28,3.86), (1.6,3.7,1.76,3.86)])
R(sg13g2_and2_2_4, Metal1, [(0.105,0.405,0.78,0.96), (0.78,1.47,1.17,1.87)])
P(sg13g2_and2_2_4, Metal1, [(-0.14,-0.22),(-0.14,0.22),(1.265,0.22),(1.265,1.145),(1.525,1.145),(1.525,0.22),(2.285,0.22),(2.285,1.32),(2.545,1.32),(2.545,0.22),(2.88,0.22),(2.88,-0.22)],
  [(2.285,2.22),(2.285,3.56),(1.525,3.56),(1.525,2.56),(1.265,2.56),(1.265,3.56),(0.505,3.56),(0.505,2.56),(0.245,2.56),(0.245,3.56),(-0.14,3.56),(-0.14,4),(2.88,4),(2.88,3.56),(2.545,3.56),(2.545,2.22)],
  [(1.775,0.72),(1.775,1.32),(1.92,1.32),(1.92,2.22),(1.775,2.22),(1.775,3.16),(2.105,3.16),(2.105,0.72)],
  [(0.245,1.14),(0.245,2.24),(0.755,2.24),(0.755,3.16),(1.015,3.16),(1.015,2.24),(1.56,2.24),(1.56,1.9),(1.74,1.9),(1.74,1.57),(1.4,1.57),(1.4,2.05),(0.505,2.05),(0.505,1.14)])
R(sg13g2_and2_2_4, Metal1_pin, [(-0.14,-0.22,2.88,0.22), (0.105,0.405,0.78,0.96), (0.78,1.47,1.17,1.87), (1.775,2.22,2.105,3.16), (-0.14,3.56,2.88,4)])
R(sg13g2_and2_2_4, pSD, [(-0.11,-0.18,2.91,0.18), (-0.07,1.76,2.95,3.6)])
R(sg13g2_and2_2_4, NWell, [(-0.24,1.75,0.72,4.17), (-0.24,1.75,2.64,4.17), (2.16,1.75,3.12,4.17)])
R(sg13g2_and2_2_4, boundary, [(0,0,2.88,3.78)])
sg13g2_and2_2_4.add(gdstk.Label('X', (1.995,2.73), layer=8, texttype=25))
sg13g2_and2_2_4.add(gdstk.Label('VSS', (1.18,0), layer=8, texttype=25))
sg13g2_and2_2_4.add(gdstk.Label('VDD', (1.275,3.78), layer=8, texttype=25))

sg13g2_or2_2_3 = lib.new_cell('sg13g2_or2_2$3')
R(sg13g2_or2_2_3, Activ, [(-0.14,-0.15,2.88,0.15), (-0.14,3.63,2.88,3.93)])
P(sg13g2_or2_2_3, Activ, [(1.25,2.18),(1.25,2.46),(0.2,2.46),(0.2,3.3),(2.685,3.3),(2.685,2.18)],
  [(0.2,0.48),(0.2,1.03),(1.255,1.03),(1.255,1.22),(2.685,1.22),(2.685,0.48)])
P(sg13g2_or2_2_3, GatPoly, [(1.05,0.22),(1.05,1.615),(0.935,1.615),(0.935,1.915),(1.05,1.915),(1.05,3.525),(1.18,3.525),(1.18,1.915),(1.235,1.915),(1.235,1.615),(1.18,1.615),(1.18,0.22)],
  [(0.54,0.22),(0.54,3.52),(0.67,3.52),(0.67,2.39),(0.87,2.39),(0.87,2.09),(0.67,2.09),(0.67,0.22)],
  [(1.595,0.22),(1.595,1.3),(1.445,1.3),(1.445,1.6),(1.595,1.6),(1.595,3.53),(1.725,3.53),(1.725,1.6),(2.175,1.6),(2.175,3.53),(2.305,3.53),(2.305,0.22),(2.175,0.22),(2.175,1.29),(1.725,1.29),(1.725,0.22)])
A(sg13g2_or2_2_3, Cont, 0.16, -0.08, 0.16, 0.16, 6, 2, 0.48, 3.78)
A(sg13g2_or2_2_3, Cont, 1.32, 2.39, 0.16, 0.16, 1, 3, 0, 0.34)
A(sg13g2_or2_2_3, Cont, 1.84, 2.39, 0.16, 0.16, 1, 3, 0, 0.34)
A(sg13g2_or2_2_3, Cont, 2.455, 2.39, 0.16, 0.16, 1, 3, 0, 0.34)
R(sg13g2_or2_2_3, Cont, [(0.27,0.55,0.43,0.71), (0.78,0.55,0.94,0.71), (1.325,0.55,1.485,0.71), (1.835,0.55,1.995,0.71), (2.455,0.55,2.615,0.71), (1.835,0.89,1.995,1.05), (2.455,0.89,2.615,1.05), (1.515,1.37,1.675,1.53), (1.005,1.685,1.165,1.845), (0.635,2.16,0.795,2.32), (0.27,2.73,0.43,2.89), (0.27,3.07,0.43,3.23)])
P(sg13g2_or2_2_3, Metal1, [(1.27,2.34),(1.27,3.56),(-0.14,3.56),(-0.14,4),(2.88,4),(2.88,3.56),(2.665,3.56),(2.665,2.34),(2.405,2.34),(2.405,3.56),(1.53,3.56),(1.53,2.34)],
  [(-0.14,-0.22),(-0.14,0.22),(0.22,0.22),(0.22,0.76),(0.48,0.76),(0.48,0.22),(1.275,0.22),(1.275,0.76),(1.535,0.76),(1.535,0.22),(2.405,0.22),(2.405,1.1),(2.665,1.1),(2.665,0.22),(2.88,0.22),(2.88,-0.22)],
  [(1.785,0.5),(1.785,1.1),(1.885,1.1),(1.885,2.34),(1.79,2.34),(1.79,3.28),(2.05,3.28),(2.05,0.5)],
  [(0.84,1.335),(0.84,1.895),(1.215,1.895),(1.215,1.635),(1.085,1.635),(1.085,1.335)],
  [(0.73,0.5),(0.73,0.945),(0.22,0.945),(0.22,3.28),(0.48,3.28),(0.48,2.53),(0.405,2.53),(0.405,1.125),(1.425,1.125),(1.425,1.58),(1.705,1.58),(1.705,1.315),(1.595,1.315),(1.595,0.945),(0.99,0.945),(0.99,0.5)],
  [(0.585,2.13),(0.585,2.35),(0.84,2.35),(0.84,2.88),(1.085,2.88),(1.085,2.13)])
R(sg13g2_or2_2_3, Metal1_pin, [(-0.14,-0.22,2.88,0.22), (0.84,1.335,1.085,1.895), (0.84,2.13,1.085,2.88), (1.79,2.34,2.05,3.28), (-0.14,3.56,2.88,4)])
R(sg13g2_or2_2_3, pSD, [(-0.11,-0.18,2.95,0.18), (-0.07,1.76,2.95,3.6)])
R(sg13g2_or2_2_3, NWell, [(-0.24,1.75,3.12,4.17)])
R(sg13g2_or2_2_3, boundary, [(0,0,2.88,3.78)])
sg13g2_or2_2_3.add(gdstk.Label('VSS', (1.43,-0.005), layer=8, texttype=25))
sg13g2_or2_2_3.add(gdstk.Label('A', (0.96,1.68), layer=8, texttype=25))
sg13g2_or2_2_3.add(gdstk.Label('X', (1.92,2.52), layer=8, texttype=25))
sg13g2_or2_2_3.add(gdstk.Label('VDD', (1.435,3.78), layer=8, texttype=25))

sg13g2_buf_2 = lib.new_cell('sg13g2_buf_2')
R(sg13g2_buf_2, Activ, [(0,-0.15,2.4,0.15), (0,3.63,2.4,3.93)])
P(sg13g2_buf_2, Activ, [(0.13,2.06),(0.13,3.18),(1.735,3.18),(1.735,3.135),(2.275,3.135),(2.275,2.135),(1.735,2.135),(1.735,2.06)],
  [(0.445,0.59),(0.445,1.33),(2.275,1.33),(2.275,0.69),(1.735,0.69),(1.735,0.59)])
P(sg13g2_buf_2, GatPoly, [(1.805,0.51),(1.805,3.315),(1.935,3.315),(1.935,1.885),(2.14,1.885),(2.14,1.585),(1.935,1.585),(1.935,0.51)],
  [(0.785,0.41),(0.785,1.52),(0.205,1.52),(0.205,1.85),(0.785,1.85),(0.785,3.36),(0.915,3.36),(0.915,1.85),(1.295,1.85),(1.295,3.36),(1.425,3.36),(1.425,0.41),(1.295,0.41),(1.295,1.52),(0.915,1.52),(0.915,0.41)])
A(sg13g2_buf_2, Cont, 0.16, -0.08, 0.16, 0.16, 3, 1, 0.48, 0)
A(sg13g2_buf_2, Cont, 2.045, 2.205, 0.16, 0.16, 1, 3, 0, 0.34)
R(sg13g2_buf_2, Cont, [(0.16,-0.08,0.32,0.08), (1.12,-0.08,1.28,0.08), (1.6,-0.08,1.76,0.08), (1.6,-0.08,1.76,0.08), (2.08,-0.08,2.24,0.08), (2.08,-0.08,2.24,0.08), (0.515,0.66,0.675,0.82), (1.025,0.66,1.185,0.82), (1.535,0.755,1.695,0.915), (2.045,0.76,2.205,0.92), (0.515,1.1,0.675,1.26), (1.025,1.1,1.185,1.26), (2.045,1.1,2.205,1.26), (0.275,1.605,0.435,1.765), (1.91,1.655,2.07,1.815), (1.025,2.13,1.185,2.29), (0.2,2.61,0.36,2.77), (1.535,2.905,1.695,3.065), (0.2,2.95,0.36,3.11), (0.16,3.7,0.32,3.86), (0.16,3.7,0.32,3.86), (0.64,3.7,0.8,3.86), (0.64,3.7,0.8,3.86), (1.12,3.7,1.28,3.86), (1.12,3.7,1.28,3.86), (1.6,3.7,1.76,3.86), (1.6,3.7,1.76,3.86), (2.08,3.7,2.24,3.86), (2.08,3.7,2.24,3.86)])
R(sg13g2_buf_2, Metal1, [(1.755,1.49,2.14,1.87)])
P(sg13g2_buf_2, Metal1, [(1.995,0.72),(1.995,1.145),(1.415,1.145),(1.415,2.55),(0.765,2.55),(0.765,2.215),(0.485,2.215),(0.485,1.555),(0.225,1.555),(0.225,2.375),(0.605,2.375),(0.605,2.71),(1.97,2.71),(1.97,3.1),(2.26,3.1),(2.26,2.18),(1.97,2.18),(1.97,2.55),(1.575,2.55),(1.575,1.31),(2.255,1.31),(2.255,0.72)],
  [(0.15,2.56),(0.15,3.56),(0,3.56),(0,4),(2.4,4),(2.4,3.56),(1.745,3.56),(1.745,2.895),(1.485,2.895),(1.485,3.56),(0.41,3.56),(0.41,2.56)],
  [(0.975,0.61),(0.975,1.52),(0.67,1.52),(0.67,1.85),(0.975,1.85),(0.975,2.34),(1.235,2.34),(1.235,0.61)],
  [(0,-0.22),(0,0.22),(0.465,0.22),(0.465,1.31),(0.725,1.31),(0.725,0.22),(1.485,0.22),(1.485,0.965),(1.745,0.965),(1.745,0.22),(2.4,0.22),(2.4,-0.22)])
R(sg13g2_buf_2, Metal1_pin, [(0,-0.22,2.4,0.22), (1.755,1.49,2.14,1.87), (0.67,1.52,1.235,1.85), (0,3.56,2.4,4)])
R(sg13g2_buf_2, pSD, [(-0.07,-0.18,2.47,0.18), (-0.07,1.76,2.56,3.6)])
R(sg13g2_buf_2, NWell, [(-0.24,1.75,2.64,4.17)])
R(sg13g2_buf_2, boundary, [(0,0,2.4,3.78)])
sg13g2_buf_2.add(gdstk.Label('VSS', (1.175,-0.005), layer=8, texttype=25))
sg13g2_buf_2.add(gdstk.Label('VDD', (0.965,3.78), layer=8, texttype=25))
sg13g2_buf_2.add(gdstk.Label('X', (0.96,1.68), layer=8, texttype=25))

via_stack_1 = lib.new_cell('via_stack$1')
R(via_stack_1, Metal1, [(-0.145,-0.145,0.145,0.145)])
R(via_stack_1, Metal2, [(-0.145,-0.145,0.145,0.145)])
R(via_stack_1, Via1, [(-0.095,-0.095,0.095,0.095)])

via_stack = lib.new_cell('via_stack')
R(via_stack, Metal1, [(-0.35,-0.145,0.35,0.145)])
R(via_stack, Metal2, [(-0.35,-0.145,0.35,0.145)])
R(via_stack, Via1, [(-0.3,-0.095,-0.11,0.095), (0.11,-0.095,0.3,0.095)])

via_stack_2 = lib.new_cell('via_stack$2')
R(via_stack_2, Metal1, [(-0.35,-0.145,0.35,0.145)])
R(via_stack_2, Metal2, [(-0.35,-0.145,0.35,0.145)])
R(via_stack_2, Via1, [(-0.3,-0.095,-0.11,0.095), (0.11,-0.095,0.3,0.095)])
R(via_stack_2, Via2, [(-0.3,-0.095,-0.11,0.095), (0.11,-0.095,0.3,0.095)])
R(via_stack_2, Metal3, [(-0.35,-0.145,0.35,0.145)])

thermo_decoder = lib.new_cell('thermo_decoder')
R(thermo_decoder, Metal1, [(-2.85,-19.2,-2.45,4.3), (-2.1,-19.2,-1.7,4.3), (1.805,-13.415,2.34,-13.125), (0.495,-5.33,0.785,-4.78), (3.515,-5.33,3.805,-4.18)])
P(thermo_decoder, Metal1, [(-1.35,-19.2),(-1.35,4.3),(-0.95,4.3),(-0.95,1.06),(-0.195,1.06),(-0.195,0.505),(-0.95,0.505),(-0.95,-14.06),(-0.195,-14.06),(-0.195,-14.615),(-0.95,-14.615),(-0.95,-19.2)])
A(thermo_decoder, Metal1_pin, -2.85, -19.2, 0.4, 23.5, 3, 1, 0.75, 0)
R(thermo_decoder, Metal1_pin, [(4.605,-13.92,4.77,-12.68), (4.64,-9.68,4.825,-8.78), (4.605,-6.36,4.77,-5.12), (1.62,-2.12,1.805,-1.22), (4.64,1.42,4.825,2.32)])
R(thermo_decoder, Metal1_25, [(3.515,-5.33,3.805,-4.18)])
R(thermo_decoder, Metal2, [(-2.795,-16.895,0.25,-16.605), (-2.045,-13.44,0.87,-13.15), (2.05,-13.415,3.935,-13.125), (-2.795,-12.14,3.805,-11.85), (-2.03,-9.88,0.78,-9.59), (-1.285,-9.355,0.915,-9.065), (1.585,-9.33,3.89,-9.04), (-2.795,-8.165,3.51,-7.875), (-2.795,-5.855,0.915,-5.565), (1.585,-5.855,3.935,-5.565), (-2.045,-5.07,0.785,-4.78), (-1.295,-4.47,3.805,-4.18), (-2.795,-1.77,0.87,-1.48), (-2.04,-0.61,0.49,-0.32), (-2.775,0.51,3.51,0.8), (-2.04,1.68,0.87,1.97), (1.62,1.69,3.89,1.98)])
R(thermo_decoder, Metal2_pin, [(1.585,-5.855,3.935,-5.565)])
R(thermo_decoder, Metal3, [(0.45,-19.3,1.35,4.5), (3.8,-19.3,4.7,4.5)])
R(thermo_decoder, Metal3_pin, [(0.45,-19.3,1.35,4.5), (3.8,-19.3,4.7,4.5)])
thermo_decoder.add(gdstk.Reference(sg13g2_and2_2_1, (-0.3,0.1)))
thermo_decoder.add(gdstk.Reference(sg13g2_and2_2, (2.72,0.1)))
thermo_decoder.add(gdstk.Reference(sg13g2_and2_2_2, (-0.3,0.1), x_reflection=True))
thermo_decoder.add(gdstk.Reference(sg13g2_or2_2, (-0.3,-7.46)))
thermo_decoder.add(gdstk.Reference(sg13g2_or2_2_1, (2.72,-7.46)))
thermo_decoder.add(gdstk.Reference(sg13g2_or2_2_2, (-0.3,-7.46), x_reflection=True))
thermo_decoder.add(gdstk.Reference(sg13g2_and2_2_3, (2.72,-7.46), x_reflection=True))
thermo_decoder.add(gdstk.Reference(sg13g2_and2_2_4, (-0.3,-15.02)))
thermo_decoder.add(gdstk.Reference(sg13g2_or2_2_3, (2.72,-15.02)))
thermo_decoder.add(gdstk.Reference(sg13g2_buf_2, (2.1,-15.02), rotation=pi))
thermo_decoder.add(gdstk.Reference(via_stack_1, (-1.895,1.825)))
thermo_decoder.add(gdstk.Reference(via_stack_1, (0.725,1.825)))
thermo_decoder.add(gdstk.Reference(via_stack, (3.16,0.655)))
thermo_decoder.add(gdstk.Reference(via_stack_1, (-2.645,0.655)))
thermo_decoder.add(gdstk.Reference(via_stack_1, (1.765,1.835)))
thermo_decoder.add(gdstk.Reference(via_stack_1, (3.745,1.825)))
thermo_decoder.add(gdstk.Reference(via_stack, (0.14,-0.46)))
thermo_decoder.add(gdstk.Reference(via_stack_1, (-1.895,-0.465)))
thermo_decoder.add(gdstk.Reference(via_stack_1, (0.725,-1.625)))
thermo_decoder.add(gdstk.Reference(via_stack_1, (-2.65,-1.625)))
thermo_decoder.add(gdstk.Reference(via_stack_1, (0.77,-5.71)))
thermo_decoder.add(gdstk.Reference(via_stack_1, (0.64,-4.925)))
thermo_decoder.add(gdstk.Reference(via_stack_1, (-1.9,-4.925)))
thermo_decoder.add(gdstk.Reference(via_stack_1, (-2.65,-5.71)))
thermo_decoder.add(gdstk.Reference(via_stack_1, (3.79,-5.71)))
thermo_decoder.add(gdstk.Reference(via_stack_1, (1.73,-5.71)))
thermo_decoder.add(gdstk.Reference(via_stack_1, (3.66,-4.325)))
thermo_decoder.add(gdstk.Reference(via_stack_1, (-1.15,-4.325)))
thermo_decoder.add(gdstk.Reference(via_stack_1, (0.64,-9.735)))
thermo_decoder.add(gdstk.Reference(via_stack_1, (0.77,-9.21)))
thermo_decoder.add(gdstk.Reference(via_stack_1, (-1.14,-9.21)))
thermo_decoder.add(gdstk.Reference(via_stack_1, (-1.885,-9.735)))
thermo_decoder.add(gdstk.Reference(via_stack_1, (3.745,-9.185)))
thermo_decoder.add(gdstk.Reference(via_stack_1, (1.73,-9.185)))
thermo_decoder.add(gdstk.Reference(via_stack, (3.16,-8.02)))
thermo_decoder.add(gdstk.Reference(via_stack_1, (-2.65,-8.02)))
thermo_decoder.add(gdstk.Reference(via_stack_1, (0.725,-13.295)))
thermo_decoder.add(gdstk.Reference(via_stack_1, (-1.9,-13.295)))
thermo_decoder.add(gdstk.Reference(via_stack_1, (3.66,-11.995)))
thermo_decoder.add(gdstk.Reference(via_stack_1, (-2.65,-11.995)))
thermo_decoder.add(gdstk.Reference(via_stack_1, (3.79,-13.27)))
thermo_decoder.add(gdstk.Reference(via_stack_1, (2.195,-13.27)))
thermo_decoder.add(gdstk.Reference(via_stack_1, (0.105,-16.75)))
thermo_decoder.add(gdstk.Reference(via_stack_1, (-2.65,-16.75)))
thermo_decoder.add(gdstk.Reference(via_stack_2, (0.88,3.88)))
thermo_decoder.add(gdstk.Reference(via_stack_2, (0.9,-3.675)))
thermo_decoder.add(gdstk.Reference(via_stack_2, (0.905,-11.24)))
thermo_decoder.add(gdstk.Reference(via_stack_2, (0.9,-18.8)))
thermo_decoder.add(gdstk.Reference(via_stack_2, (4.25,-15.02)))
thermo_decoder.add(gdstk.Reference(via_stack_2, (4.265,-7.46)))
thermo_decoder.add(gdstk.Reference(via_stack_2, (4.245,0.1)))
thermo_decoder.add(gdstk.Label('D5', (4.72,-9.19), layer=8, texttype=2))
thermo_decoder.add(gdstk.Label('X2', (-2.795,4.05), layer=8, texttype=25))
thermo_decoder.add(gdstk.Label('X1', (-1.99,4.005), layer=8, texttype=25))
thermo_decoder.add(gdstk.Label('X0', (-1.255,4.03), layer=8, texttype=25))
thermo_decoder.add(gdstk.Label('D7', (4.72,1.88), layer=8, texttype=25))
thermo_decoder.add(gdstk.Label('D6', (1.72,-1.61), layer=8, texttype=25))
thermo_decoder.add(gdstk.Label('D1', (4.69,-5.65), layer=8, texttype=25))
thermo_decoder.add(gdstk.Label('D3', (4.68,-13.175), layer=8, texttype=25))
thermo_decoder.add(gdstk.Label('D4', (1.145,-16.72), layer=8, texttype=25))
thermo_decoder.add(gdstk.Label('D2', (2.55,-5.705), layer=10, texttype=25))
thermo_decoder.add(gdstk.Label('VDD', (0.865,4.43), layer=30, texttype=25))
thermo_decoder.add(gdstk.Label('VSS', (4.22,4.375), layer=30, texttype=25))

lib.write_gds('thermo_decoder.gds')
